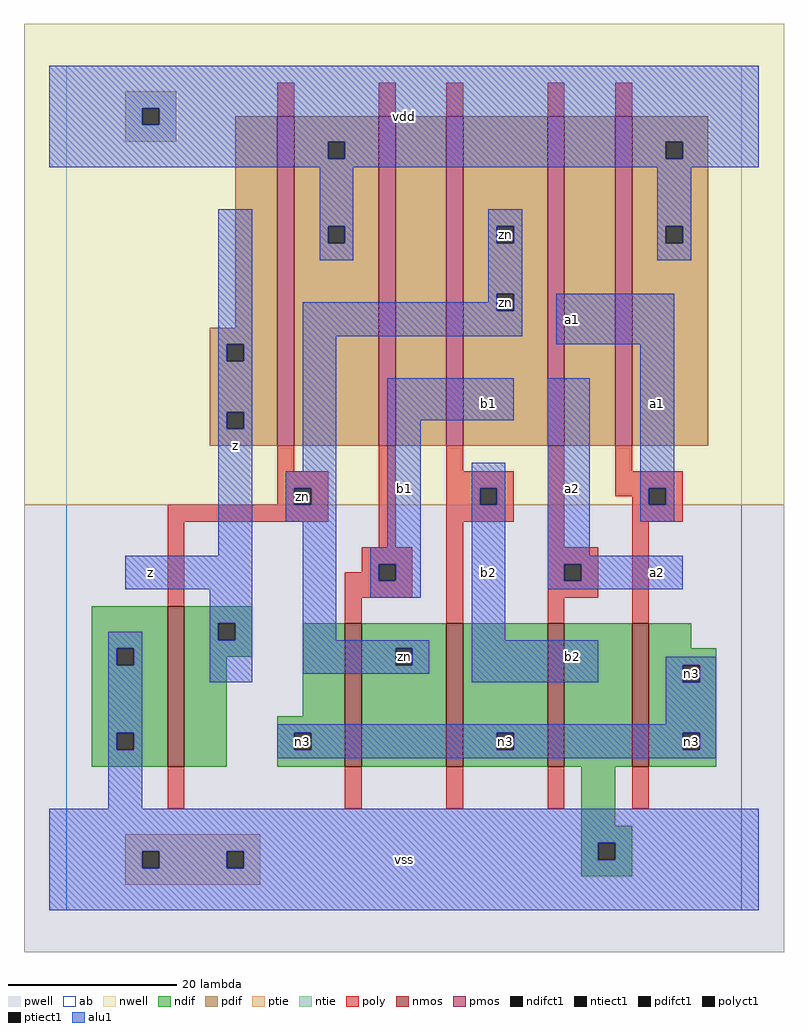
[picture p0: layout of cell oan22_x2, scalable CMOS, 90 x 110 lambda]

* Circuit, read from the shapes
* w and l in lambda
.subckt oan22_x2 a1 a2 b1 b2 n3 vdd vss z zn
M1 z zn vss vss nfet w=19 l=2
M2 zn b1 n3 vss nfet w=17 l=2
M3 n3 b2 zn vss nfet w=17 l=2
M4 vss a2 n3 vss nfet w=17 l=2
M5 n3 a1 vss vss nfet w=17 l=2
M6 vdd zn z vdd pfet w=39 l=2
M7 n1 b1 vdd vdd pfet w=39 l=2
M8 zn b2 n1 vdd pfet w=39 l=2
M9 n2 a2 zn vdd pfet w=39 l=2
M10 vdd a1 n2 vdd pfet w=39 l=2
.ends

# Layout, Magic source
magic
tech scmos
<< ab >>
rect 0 0 80 100
<< nwell >>
rect -5 48 85 105
<< pwell >>
rect -5 -5 85 48
<< poly >>
rect 25 94 27 98
rect 37 94 39 98
rect 45 94 47 98
rect 57 94 59 98
rect 65 94 67 98
rect 25 52 27 55
rect 25 50 31 52
rect 25 48 27 50
rect 29 48 31 50
rect 12 46 31 48
rect 12 36 14 46
rect 37 43 39 55
rect 45 52 47 55
rect 45 50 53 52
rect 45 48 49 50
rect 51 48 53 50
rect 45 46 53 48
rect 35 41 41 43
rect 35 40 37 41
rect 33 39 37 40
rect 39 39 41 41
rect 33 37 41 39
rect 33 34 35 37
rect 45 34 47 46
rect 57 43 59 55
rect 65 52 67 55
rect 65 50 73 52
rect 65 49 69 50
rect 67 48 69 49
rect 71 48 73 50
rect 67 46 73 48
rect 57 41 63 43
rect 57 39 59 41
rect 61 39 63 41
rect 57 37 63 39
rect 57 34 59 37
rect 67 34 69 46
rect 12 12 14 17
rect 33 12 35 17
rect 45 12 47 17
rect 57 12 59 17
rect 67 12 69 17
<< ndif >>
rect 3 31 12 36
rect 3 29 6 31
rect 8 29 12 31
rect 3 21 12 29
rect 3 19 6 21
rect 8 19 12 21
rect 3 17 12 19
rect 14 34 22 36
rect 14 32 18 34
rect 20 32 22 34
rect 14 30 22 32
rect 14 17 19 30
rect 28 23 33 34
rect 25 21 33 23
rect 25 19 27 21
rect 29 19 33 21
rect 25 17 33 19
rect 35 31 45 34
rect 35 29 39 31
rect 41 29 45 31
rect 35 17 45 29
rect 47 21 57 34
rect 47 19 51 21
rect 53 19 57 21
rect 47 17 57 19
rect 59 17 67 34
rect 69 31 74 34
rect 69 29 77 31
rect 69 27 73 29
rect 75 27 77 29
rect 69 21 77 27
rect 69 19 73 21
rect 75 19 77 21
rect 69 17 77 19
rect 61 10 65 17
rect 61 8 67 10
rect 61 6 63 8
rect 65 6 67 8
rect 61 4 67 6
<< pdif >>
rect 20 69 25 94
rect 17 67 25 69
rect 17 65 19 67
rect 21 65 25 67
rect 17 59 25 65
rect 17 57 19 59
rect 21 57 25 59
rect 17 55 25 57
rect 27 91 37 94
rect 27 89 31 91
rect 33 89 37 91
rect 27 81 37 89
rect 27 79 31 81
rect 33 79 37 81
rect 27 55 37 79
rect 39 55 45 94
rect 47 81 57 94
rect 47 79 51 81
rect 53 79 57 81
rect 47 73 57 79
rect 47 71 51 73
rect 53 71 57 73
rect 47 55 57 71
rect 59 55 65 94
rect 67 91 76 94
rect 67 89 71 91
rect 73 89 76 91
rect 67 81 76 89
rect 67 79 71 81
rect 73 79 76 81
rect 67 55 76 79
<< alu1 >>
rect -2 95 82 100
rect -2 93 9 95
rect 11 93 82 95
rect -2 91 82 93
rect -2 89 31 91
rect 33 89 71 91
rect 73 89 82 91
rect -2 88 82 89
rect 18 67 22 83
rect 30 81 34 88
rect 30 79 31 81
rect 33 79 34 81
rect 30 77 34 79
rect 50 81 54 83
rect 50 79 51 81
rect 53 79 54 81
rect 50 73 54 79
rect 70 81 74 88
rect 70 79 71 81
rect 73 79 74 81
rect 70 77 74 79
rect 50 72 51 73
rect 18 65 19 67
rect 21 65 22 67
rect 18 59 22 65
rect 18 57 19 59
rect 21 57 22 59
rect 18 42 22 57
rect 28 71 51 72
rect 53 71 54 73
rect 28 68 54 71
rect 28 52 32 68
rect 58 67 72 73
rect 26 50 32 52
rect 26 48 27 50
rect 29 48 32 50
rect 26 46 32 48
rect 7 38 22 42
rect 17 34 22 38
rect 5 31 9 33
rect 5 29 6 31
rect 8 29 9 31
rect 5 21 9 29
rect 17 32 18 34
rect 20 32 22 34
rect 17 27 22 32
rect 28 32 32 46
rect 38 58 53 63
rect 38 43 42 58
rect 36 41 42 43
rect 36 39 37 41
rect 39 39 42 41
rect 36 37 42 39
rect 48 50 52 53
rect 48 48 49 50
rect 51 48 52 50
rect 48 32 52 48
rect 57 42 62 63
rect 68 50 72 67
rect 68 48 69 50
rect 71 48 72 50
rect 68 46 72 48
rect 57 41 73 42
rect 57 39 59 41
rect 61 39 73 41
rect 57 38 73 39
rect 28 31 43 32
rect 28 29 39 31
rect 41 29 43 31
rect 28 28 43 29
rect 48 27 63 32
rect 71 29 77 30
rect 71 27 73 29
rect 75 27 77 29
rect 71 22 77 27
rect 5 19 6 21
rect 8 19 9 21
rect 5 12 9 19
rect 25 21 77 22
rect 25 19 27 21
rect 29 19 51 21
rect 53 19 73 21
rect 75 19 77 21
rect 25 18 77 19
rect -2 8 82 12
rect -2 7 63 8
rect -2 5 9 7
rect 11 5 19 7
rect 21 6 63 7
rect 65 6 82 8
rect 21 5 82 6
rect -2 0 82 5
<< ptie >>
rect 7 7 23 9
rect 7 5 9 7
rect 11 5 19 7
rect 21 5 23 7
rect 7 3 23 5
<< ntie >>
rect 7 95 13 97
rect 7 93 9 95
rect 11 93 13 95
rect 7 91 13 93
<< nmos >>
rect 12 17 14 36
rect 33 17 35 34
rect 45 17 47 34
rect 57 17 59 34
rect 67 17 69 34
<< pmos >>
rect 25 55 27 94
rect 37 55 39 94
rect 45 55 47 94
rect 57 55 59 94
rect 65 55 67 94
<< polyct1 >>
rect 27 48 29 50
rect 49 48 51 50
rect 37 39 39 41
rect 69 48 71 50
rect 59 39 61 41
<< ndifct1 >>
rect 6 29 8 31
rect 6 19 8 21
rect 18 32 20 34
rect 27 19 29 21
rect 39 29 41 31
rect 51 19 53 21
rect 73 27 75 29
rect 73 19 75 21
rect 63 6 65 8
<< ntiect1 >>
rect 9 93 11 95
<< ptiect1 >>
rect 9 5 11 7
rect 19 5 21 7
<< pdifct1 >>
rect 19 65 21 67
rect 19 57 21 59
rect 31 89 33 91
rect 31 79 33 81
rect 51 79 53 81
rect 51 71 53 73
rect 71 89 73 91
rect 71 79 73 81
<< labels >>
rlabel ndifct1 28 20 28 20 6 n3
rlabel polyct1 28 49 28 49 6 zn
rlabel ndifct1 52 20 52 20 6 n3
rlabel ndifct1 40 30 40 30 6 zn
rlabel pdifct1 52 72 52 72 6 zn
rlabel pdifct1 52 80 52 80 6 zn
rlabel ndifct1 74 20 74 20 6 n3
rlabel ndifct1 74 28 74 28 6 n3
rlabel alu1 10 40 10 40 6 z
rlabel alu1 20 55 20 55 6 z
rlabel alu1 40 6 40 6 6 vss
rlabel alu1 50 40 50 40 6 b2
rlabel alu1 40 50 40 50 6 b1
rlabel alu1 50 60 50 60 6 b1
rlabel alu1 40 94 40 94 6 vdd
rlabel alu1 60 30 60 30 6 b2
rlabel alu1 70 40 70 40 6 a2
rlabel alu1 60 50 60 50 6 a2
rlabel alu1 60 70 60 70 6 a1
rlabel alu1 70 60 70 60 6 a1
<< end >>
